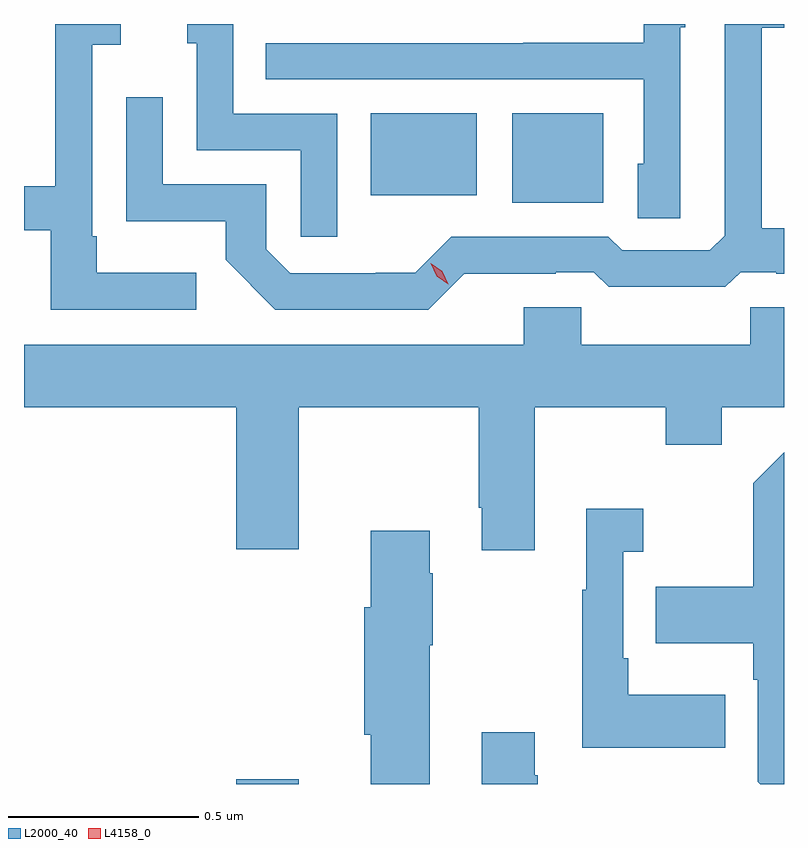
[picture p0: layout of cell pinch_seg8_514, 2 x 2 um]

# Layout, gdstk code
import gdstk
lib = gdstk.Library(unit=1e-6, precision=1e-09)
def R(c, l, rs):  # rectangles x0, y0, x1, y1
    for r in rs: c.add(gdstk.rectangle(r[:2], r[2:], *l))
def P(c, l, *ps):  # polygons
    for p in ps: c.add(gdstk.Polygon(p, *l))
L2000_40 = (2000, 40)
L4158_0 = (4158, 0)

pinch_seg8_514 = lib.new_cell('pinch_seg8_514')
R(pinch_seg8_514, L2000_40, [(224.948,1107.516,225.112,1107.529), (225.674,1109.045,225.913,1109.281), (225.302,1109.066,225.58,1109.281)])
P(pinch_seg8_514, L2000_40, [(225.548,1108.859),(225.788,1108.859),(225.788,1108.863),(225.888,1108.863),(225.928,1108.824),(226.235,1108.824),(226.275,1108.863),(226.369,1108.863),(226.369,1108.859),(226.389,1108.859),(226.389,1108.979),(226.331,1108.979),(226.331,1109.506),(226.389,1109.506),(226.389,1109.516),(226.233,1109.516),(226.233,1108.959),(226.194,1108.92),(225.963,1108.92),(225.927,1108.956),(225.513,1108.956),(225.419,1108.862),(225.314,1108.862),(225.314,1108.86),(225.09,1108.86),(225.027,1108.923),(225.027,1109.094),(224.754,1109.094),(224.754,1109.323),(224.658,1109.323),(224.658,1108.997),(224.92,1108.997),(224.92,1108.895),(225.05,1108.764),(225.453,1108.764)],
  [(225.213,1109.28),(224.94,1109.28),(224.94,1109.516),(224.819,1109.516),(224.819,1109.466),(224.844,1109.466),(224.844,1109.184),(225.117,1109.184),(225.117,1108.956),(225.213,1108.956)],
  [(226.116,1109.508),(226.129,1109.508),(226.129,1109.516),(226.02,1109.516),(226.02,1109.467),(225.703,1109.467),(225.703,1109.466),(225.025,1109.466),(225.025,1109.37),(226.02,1109.37),(226.02,1109.148),(226.004,1109.148),(226.004,1109.005),(226.116,1109.005)],
  [(224.842,1108.861),(224.581,1108.861),(224.581,1108.957),(224.568,1108.957),(224.568,1109.462),(224.644,1109.462),(224.644,1109.516),(224.471,1109.516),(224.471,1109.089),(224.389,1109.089),(224.389,1108.973),(224.46,1108.973),(224.46,1108.764),(224.842,1108.764)],
  [(225.733,1108.508),(226.078,1108.508),(226.078,1108.409),(226.225,1108.409),(226.225,1108.508),(226.389,1108.508),(226.389,1108.77),(226.3,1108.77),(226.3,1108.672),(225.855,1108.672),(225.855,1108.77),(225.704,1108.77),(225.704,1108.672),(224.389,1108.672),(224.389,1108.508),(224.948,1108.508),(224.948,1108.134),(225.112,1108.134),(225.112,1108.508),(225.586,1108.508),(225.586,1108.243),(225.593,1108.243),(225.593,1108.131),(225.733,1108.131)],
  [(226.389,1108.389),(226.308,1108.307),(226.308,1108.035),(226.051,1108.035),(226.051,1107.887),(226.308,1107.887),(226.308,1107.791),(226.32,1107.791),(226.32,1107.522),(226.326,1107.516),(226.389,1107.516)],
  [(226.235,1107.751),(225.979,1107.751),(225.979,1107.847),(225.966,1107.847),(225.966,1108.127),(226.018,1108.127),(226.018,1108.24),(225.869,1108.24),(225.869,1108.027),(225.858,1108.027),(225.858,1107.611),(226.235,1107.611)],
  [(225.457,1107.881),(225.465,1107.881),(225.465,1108.07),(225.457,1108.07),(225.457,1108.183),(225.302,1108.183),(225.302,1107.981),(225.284,1107.981),(225.284,1107.645),(225.302,1107.645),(225.302,1107.516),(225.457,1107.516)],
  [(225.741,1107.539),(225.733,1107.539),(225.733,1107.652),(225.593,1107.652),(225.593,1107.516),(225.741,1107.516)])
P(pinch_seg8_514, L4158_0, [(225.506,1108.831),(225.475,1108.852),(225.459,1108.886),(225.459,1108.886),(225.46,1108.886),(225.49,1108.865),(225.506,1108.831),(225.506,1108.831)])

lib.write_gds('pinch_seg8_514.gds')
